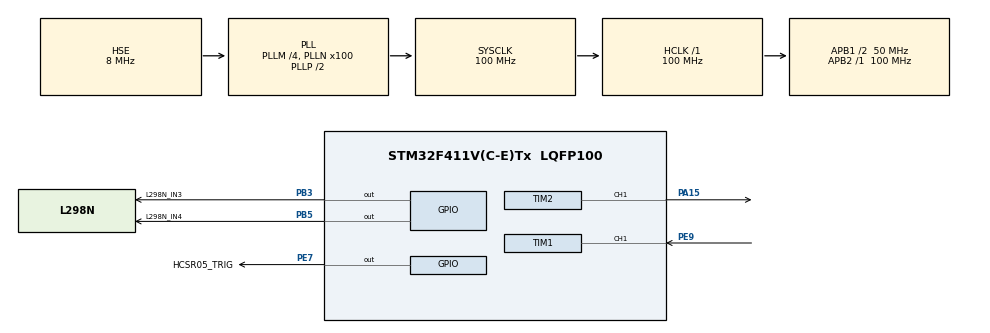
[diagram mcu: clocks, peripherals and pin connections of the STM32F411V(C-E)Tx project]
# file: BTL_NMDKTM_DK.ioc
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Mcu.Family=STM32F4
Mcu.Name=STM32F411V(C-E)Tx
Mcu.Package=LQFP100
NVIC.PriorityGroup=NVIC_PRIORITYGROUP_4
NVIC.TIM1_CC_IRQn=true\:0\:0\:false\:false\:true\:true\:true\:true
NVIC.TIM3_IRQn=true\:0\:0\:false\:false\:true\:true\:true\:true
PA13.Mode=Serial_Wire
PA13.Signal=SYS_JTMS-SWDIO
PA14.Mode=Serial_Wire
PA14.Signal=SYS_JTCK-SWCLK
PA15.Signal=S_TIM2_CH1_ETR
PB3.GPIO_Label=L298N_IN3
PB3.Signal=GPIO_Output
PB5.GPIO_Label=L298N_IN4
PB5.Signal=GPIO_Output
PE7.GPIO_Label=HCSR05_TRIG
PE7.GPIO_PuPd=GPIO_PULLDOWN
PE7.Signal=GPIO_Output
PE9.Signal=S_TIM1_CH1
PH0\ -\ OSC_IN.Mode=HSE-External-Oscillator
PH0\ -\ OSC_IN.Signal=RCC_OSC_IN
PH1\ -\ OSC_OUT.Mode=HSE-External-Oscillator
PH1\ -\ OSC_OUT.Signal=RCC_OSC_OUT
ProjectManager.HeapSize=0x200
ProjectManager.StackSize=0x400
ProjectManager.TargetToolchain=STM32CubeIDE
RCC.48MHZClocksFreq_Value=50000000
RCC.AHBFreq_Value=100000000
RCC.APB1CLKDivider=RCC_HCLK_DIV2
RCC.APB1Freq_Value=50000000
RCC.APB1TimFreq_Value=100000000
RCC.APB2Freq_Value=100000000
RCC.APB2TimFreq_Value=100000000
RCC.CortexFreq_Value=100000000
RCC.HCLKFreq_Value=100000000
RCC.HSE_VALUE=8000000
RCC.HSI_VALUE=16000000
RCC.LSE_VALUE=32768
RCC.PLLM=4
RCC.PLLN=100
RCC.PLLSourceVirtual=RCC_PLLSOURCE_HSE
RCC.SYSCLKFreq_VALUE=100000000
RCC.SYSCLKSource=RCC_SYSCLKSOURCE_PLLCLK
RCC.VCOOutputFreq_Value=200000000
SH.S_TIM1_CH1.0=TIM1_CH1,Input_Capture1_from_TI1
SH.S_TIM2_CH1_ETR.0=TIM2_CH1,PWM Generation1 CH1
TIM1.Channel-Input_Capture1_from_TI1=TIM_CHANNEL_1
TIM1.Period=0xffff-1
TIM1.Prescaler=100-1
TIM2.Channel-PWM\ Generation1\ CH1=TIM_CHANNEL_1
TIM2.Period=1000-1
TIM2.Prescaler=100-1
TIM3.Period=5000
TIM3.Prescaler=100-1
VP_TIM1_VS_ClockSourceINT.Mode=Internal
VP_TIM2_VS_ClockSourceINT.Mode=Internal
VP_TIM3_VS_ClockSourceINT.Mode=Internal
board=custom

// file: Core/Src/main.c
/* USER CODE BEGIN Header */
/**
  ******************************************************************************
  * @file           : main.c
  * @brief          : Main program body
  ******************************************************************************
  * @attention
  *
  * Copyright (c) 2024 STMicroelectronics.
  * All rights reserved.
  *
  * This software is licensed under terms that can be found in the LICENSE file
  * in the root directory of this software component.
  * If no LICENSE file comes with this software, it is provided AS-IS.
  *
  ******************************************************************************
  */
/* USER CODE END Header */
#include "main.h"
#include "HC_SR05.h"

/* USER CODE BEGIN PTD */
float e_k;
float e_dot;

float e_k1;

float e_k_input;
float e_k_dot_input;
uint8_t flag = 0;

double pwmValue;
volatile float point = 10.0f;
volatile float K2 = 2;
/* USER CODE END PTD */

TIM_HandleTypeDef htim1;
TIM_HandleTypeDef htim2;
TIM_HandleTypeDef htim3;

void SystemClock_Config(void);
static void MX_GPIO_Init(void);
static void MX_TIM1_Init(void);
static void MX_TIM2_Init(void);
static void MX_TIM3_Init(void);

/* USER CODE BEGIN 0 */
float Dis = 0;
float docao;
/* USER CODE END 0 */

int main(void)
{

  /* MCU Configuration--------------------------------------------------------*/

  /* Reset of all peripherals, Initializes the Flash interface and the Systick. */

	HAL_Init();

  /* Configure the system clock */
  SystemClock_Config();

  /* Initialize all configured peripherals */
  MX_GPIO_Init();
  MX_TIM1_Init();
  MX_TIM2_Init();
  MX_TIM3_Init();
  /* USER CODE BEGIN 2 */

  HAL_TIM_IC_Start_IT(&htim1, TIM_CHANNEL_1); // HCSR05 ECHO
  HAL_TIM_PWM_Start(&htim2, TIM_CHANNEL_1);   // L298N ENA (PA15)
//  HAL_GPIO_WritePin(GPIOB, GPIO_PIN_3, GPIO_PIN_SET);   // L298N IN3
//  HAL_GPIO_WritePin(GPIOB, GPIO_PIN_5, GPIO_PIN_RESET); // L298N IN4
  HAL_TIM_Base_Start_IT(&htim3); // Thoi gian dieu khien he thong

  /* USER CODE END 2 */

  /* Infinite loop */
  /* USER CODE BEGIN WHILE */
  while (1)
  {
	  Dis = HCSR05_GetDis();
	  HAL_Delay(200);
	  flag = 1;
	  docao = 14.8 - Dis;

    /* USER CODE END WHILE */

  }
}

void SystemClock_Config(void)
{
  RCC_OscInitTypeDef RCC_OscInitStruct = {0};
  RCC_ClkInitTypeDef RCC_ClkInitStruct = {0};

  /** Configure the main internal regulator output voltage
  */
  __HAL_RCC_PWR_CLK_ENABLE();
  __HAL_PWR_VOLTAGESCALING_CONFIG(PWR_REGULATOR_VOLTAGE_SCALE1);

  /** Initializes the RCC Oscillators according to the specified parameters
  * in the RCC_OscInitTypeDef structure.
  */
  RCC_OscInitStruct.OscillatorType = RCC_OSCILLATORTYPE_HSE;
  RCC_OscInitStruct.HSEState = RCC_HSE_ON;
  RCC_OscInitStruct.PLL.PLLState = RCC_PLL_ON;
  RCC_OscInitStruct.PLL.PLLSource = RCC_PLLSOURCE_HSE;
  RCC_OscInitStruct.PLL.PLLM = 4;
  RCC_OscInitStruct.PLL.PLLN = 100;
  RCC_OscInitStruct.PLL.PLLP = RCC_PLLP_DIV2;
  RCC_OscInitStruct.PLL.PLLQ = 4;
  if (HAL_RCC_OscConfig(&RCC_OscInitStruct) != HAL_OK)
  {
    Error_Handler();
  }

  /** Initializes the CPU, AHB and APB buses clocks
  */
  RCC_ClkInitStruct.ClockType = RCC_CLOCKTYPE_HCLK|RCC_CLOCKTYPE_SYSCLK
                              |RCC_CLOCKTYPE_PCLK1|RCC_CLOCKTYPE_PCLK2;
  RCC_ClkInitStruct.SYSCLKSource = RCC_SYSCLKSOURCE_PLLCLK;
  RCC_ClkInitStruct.AHBCLKDivider = RCC_SYSCLK_DIV1;
  RCC_ClkInitStruct.APB1CLKDivider = RCC_HCLK_DIV2;
  RCC_ClkInitStruct.APB2CLKDivider = RCC_HCLK_DIV1;

  if (HAL_RCC_ClockConfig(&RCC_ClkInitStruct, FLASH_LATENCY_3) != HAL_OK)
  {
    Error_Handler();
  }
}

static void MX_TIM1_Init(void)
{

  TIM_ClockConfigTypeDef sClockSourceConfig = {0};
  TIM_MasterConfigTypeDef sMasterConfig = {0};
  TIM_IC_InitTypeDef sConfigIC = {0};

  htim1.Instance = TIM1;
  htim1.Init.Prescaler = 100-1;
  htim1.Init.CounterMode = TIM_COUNTERMODE_UP;
  htim1.Init.Period = 0xffff-1;
  htim1.Init.ClockDivision = TIM_CLOCKDIVISION_DIV1;
  htim1.Init.RepetitionCounter = 0;
  htim1.Init.AutoReloadPreload = TIM_AUTORELOAD_PRELOAD_DISABLE;
  if (HAL_TIM_Base_Init(&htim1) != HAL_OK)
  {
    Error_Handler();
  }
  sClockSourceConfig.ClockSource = TIM_CLOCKSOURCE_INTERNAL;
  if (HAL_TIM_ConfigClockSource(&htim1, &sClockSourceConfig) != HAL_OK)
  {
    Error_Handler();
  }
  if (HAL_TIM_IC_Init(&htim1) != HAL_OK)
  {
    Error_Handler();
  }
  sMasterConfig.MasterOutputTrigger = TIM_TRGO_RESET;
  sMasterConfig.MasterSlaveMode = TIM_MASTERSLAVEMODE_DISABLE;
  if (HAL_TIMEx_MasterConfigSynchronization(&htim1, &sMasterConfig) != HAL_OK)
  {
    Error_Handler();
  }
  sConfigIC.ICPolarity = TIM_INPUTCHANNELPOLARITY_RISING;
  sConfigIC.ICSelection = TIM_ICSELECTION_DIRECTTI;
  sConfigIC.ICPrescaler = TIM_ICPSC_DIV1;
  sConfigIC.ICFilter = 0;
  if (HAL_TIM_IC_ConfigChannel(&htim1, &sConfigIC, TIM_CHANNEL_1) != HAL_OK)
  {
    Error_Handler();
  }

}

static void MX_TIM2_Init(void)
{

  TIM_ClockConfigTypeDef sClockSourceConfig = {0};
  TIM_MasterConfigTypeDef sMasterConfig = {0};
  TIM_OC_InitTypeDef sConfigOC = {0};

  htim2.Instance = TIM2;
  htim2.Init.Prescaler = 100-1;
  htim2.Init.CounterMode = TIM_COUNTERMODE_UP;
  htim2.Init.Period = 1000-1;
  htim2.Init.ClockDivision = TIM_CLOCKDIVISION_DIV1;
  htim2.Init.AutoReloadPreload = TIM_AUTORELOAD_PRELOAD_DISABLE;
  if (HAL_TIM_Base_Init(&htim2) != HAL_OK)
  {
    Error_Handler();
  }
  sClockSourceConfig.ClockSource = TIM_CLOCKSOURCE_INTERNAL;
  if (HAL_TIM_ConfigClockSource(&htim2, &sClockSourceConfig) != HAL_OK)
  {
    Error_Handler();
  }
  if (HAL_TIM_PWM_Init(&htim2) != HAL_OK)
  {
    Error_Handler();
  }
  sMasterConfig.MasterOutputTrigger = TIM_TRGO_RESET;
  sMasterConfig.MasterSlaveMode = TIM_MASTERSLAVEMODE_DISABLE;
  if (HAL_TIMEx_MasterConfigSynchronization(&htim2, &sMasterConfig) != HAL_OK)
  {
    Error_Handler();
  }
  sConfigOC.OCMode = TIM_OCMODE_PWM1;
  sConfigOC.Pulse = 0;
  sConfigOC.OCPolarity = TIM_OCPOLARITY_HIGH;
  sConfigOC.OCFastMode = TIM_OCFAST_DISABLE;
  if (HAL_TIM_PWM_ConfigChannel(&htim2, &sConfigOC, TIM_CHANNEL_1) != HAL_OK)
  {
    Error_Handler();
  }
  HAL_TIM_MspPostInit(&htim2);

}

static void MX_TIM3_Init(void)
{

  TIM_ClockConfigTypeDef sClockSourceConfig = {0};
  TIM_MasterConfigTypeDef sMasterConfig = {0};

  htim3.Instance = TIM3;
  htim3.Init.Prescaler = 100-1;
  htim3.Init.CounterMode = TIM_COUNTERMODE_UP;
  htim3.Init.Period = 5000;
  htim3.Init.ClockDivision = TIM_CLOCKDIVISION_DIV1;
  htim3.Init.AutoReloadPreload = TIM_AUTORELOAD_PRELOAD_DISABLE;
  if (HAL_TIM_Base_Init(&htim3) != HAL_OK)
  {
    Error_Handler();
  }
  sClockSourceConfig.ClockSource = TIM_CLOCKSOURCE_INTERNAL;
  if (HAL_TIM_ConfigClockSource(&htim3, &sClockSourceConfig) != HAL_OK)
  {
    Error_Handler();
  }
  sMasterConfig.MasterOutputTrigger = TIM_TRGO_RESET;
  sMasterConfig.MasterSlaveMode = TIM_MASTERSLAVEMODE_DISABLE;
  if (HAL_TIMEx_MasterConfigSynchronization(&htim3, &sMasterConfig) != HAL_OK)
  {
    Error_Handler();
  }

}

static void MX_GPIO_Init(void)
{
  GPIO_InitTypeDef GPIO_InitStruct = {0};

  /* GPIO Ports Clock Enable */
  __HAL_RCC_GPIOH_CLK_ENABLE();
  __HAL_RCC_GPIOE_CLK_ENABLE();
  __HAL_RCC_GPIOA_CLK_ENABLE();
  __HAL_RCC_GPIOB_CLK_ENABLE();

  /*Configure GPIO pin Output Level */
  HAL_GPIO_WritePin(HCSR05_TRIG_GPIO_Port, HCSR05_TRIG_Pin, GPIO_PIN_RESET);

  /*Configure GPIO pin Output Level */
  HAL_GPIO_WritePin(GPIOB, L298N_IN3_Pin|L298N_IN4_Pin, GPIO_PIN_RESET);

  /*Configure GPIO pin : HCSR05_TRIG_Pin */
  GPIO_InitStruct.Pin = HCSR05_TRIG_Pin;
  GPIO_InitStruct.Mode = GPIO_MODE_OUTPUT_PP;
  GPIO_InitStruct.Pull = GPIO_PULLDOWN;
  GPIO_InitStruct.Speed = GPIO_SPEED_FREQ_LOW;
  HAL_GPIO_Init(HCSR05_TRIG_GPIO_Port, &GPIO_InitStruct);

  /*Configure GPIO pins : L298N_IN3_Pin L298N_IN4_Pin */
  GPIO_InitStruct.Pin = L298N_IN3_Pin|L298N_IN4_Pin;
  GPIO_InitStruct.Mode = GPIO_MODE_OUTPUT_PP;
  GPIO_InitStruct.Pull = GPIO_NOPULL;
  GPIO_InitStruct.Speed = GPIO_SPEED_FREQ_LOW;
  HAL_GPIO_Init(GPIOB, &GPIO_InitStruct);

}

/* USER CODE BEGIN 4 */
/*
 **** Chuong trinh giai mo bang pp trung binh co trong so cua thay ****
 % My_SugenoFIS : Sugeno Fuzzy Inference System
clear all

% Gia tri ro cua bien vao
x1=-5;
x2=9;

% Khai bao cac gia tri ngon ngu
x1_NE=hlt_hinhthang(x1,-13,-12,-12,0);
x1_ZE=hlt_hinhthang(x1,-12,0,0,12);
x1_PO=hlt_hinhthang(x1,0,12,12,13);

x2_LO=hlt_hinhthang(x2,-1,0,1,6);
x2_ME=hlt_hinhthang(x2,1,6,6,11);
x2_HI=hlt_hinhthang(x2,6,11,12,13);

y_NB=-2;
y_NS=-1;
y_ZE=0;
y_PS=1;
y_PB=2;

% Cac luat va suy luan mo
beta1 = min(x1_NE,x2_LO);
y1 = y_NB;

beta2 = min(x1_NE,x2_ME);
y2 = y_NS;

beta3 = min(x1_NE,x2_HI);
y3 = y_ZE;

beta4 = min(x1_ZE,x2_LO);
y4 = y_NB;

beta5 = min(x1_ZE,x2_ME);
y5 = y_ZE;

beta6 = min(x1_ZE,x2_HI);
y6 = y_PB;

beta7 = min(x1_PO,x2_LO);
y7 = y_ZE;

beta8 = min(x1_PO,x2_ME);
y8 = y_PS;

beta9 = min(x1_PO,x2_HI);
y9 = y_PB;

% Giai mo trung binh co trong so

TS = beta1*y1+beta2*y2+beta3*y3+...
     beta4*y4+beta5*y5+beta6*y6+...
     beta7*y7+beta8*y8+beta9*y9;
MS = beta1+beta2+beta3+...
     beta4+beta5+beta6+...
     beta7+beta8+beta9;

y=TS/MS
 */

float fuzzyController(float a, float b)
{
    float e[]={hlt_hinhthang(a,-2,-1,-0.25,-0.1),hlt_tamgiac(a,-0.25,-0.1,0),hlt_tamgiac(a,-0.1,0,0.1),
    		hlt_tamgiac(a,0,0.1,0.25),hlt_hinhthang(a,0.1,0.25,1,2)};

    float edot[]={hlt_hinhthang(b,-1.5,-1,-0.3,-0.2),hlt_tamgiac(b,-0.3,-0.2,0),hlt_tamgiac(b,-0.2,0,0.2),
    		hlt_tamgiac(b,0,0.2,0.3),hlt_hinhthang(b,0.2,0.3,1,2)};

    float y[]={-100,-40,-20,0,30,70,100};
    float beta[5][5];
    for (int i = 0; i < 5; i++)
    {
     for (int j = 0; j < 5 ;j++)
     {
       beta[i][j]= MIN(e[i],edot[j]);
     }
    }

    float NB[] = {beta[e_NB][edot_NB],beta[e_NB][edot_NS],beta[e_NS][edot_NB]};
    float NM[] = {beta[e_NB][edot_ZE],beta[e_NS][edot_NS],beta[e_ZE][edot_NB]};
    float NS[] = {beta[e_NB][edot_PS],beta[e_NS][edot_ZE],beta[e_ZE][edot_NS],beta[e_PS][edot_NB]};
    float ZE[] = {beta[e_NB][edot_PB],beta[e_NS][edot_PS],beta[e_ZE][edot_ZE],beta[e_PS][edot_NS],beta[e_PB][edot_NB]};
    float PS[] = {beta[e_NS][edot_PB],beta[e_ZE][edot_PS],beta[e_PS][edot_ZE],beta[e_PB][edot_NS]};
    float PM[] = {beta[e_ZE][edot_PB],beta[e_PS][edot_PS],beta[e_PB][edot_ZE]};
    float PB[] = {beta[e_PB][edot_PB],beta[e_PB][edot_PS],beta[e_PS][edot_PB]};

    float ans = (rule(NB,y[y_NB],3)+rule(NM,y[y_NM],3)+rule(NS,y[y_NS],4)+rule(ZE,y[y_ZE],5)+
    		rule(PS,y[y_PS],4)+rule(PM,y[y_PM],3)+rule(PB,y[y_PB],3))/sum_array(beta,5,5); //
    return ans;
}

float hlt_hinhthang(float data, float l, float cl, float cr, float r)
{
    if ((data < l)   && (data >= r)) return 0;
    if ((data >= l)  && (data < cl)) return (data - l)/(cl - l);
    if ((data >= cl) && (data < cr)) return 1;
    if ((data >= cr) && (data < r))  return (r - data)/(r - cr);
    return 0;
}

float hlt_tamgiac(float data,float l,float m, float r)
{
    if ((data < l)  || (data >= r)) return 0;
    if ((data >= l) && (data < m))  return (data - l)/(m - l);
    if ((data >= m) && (data < r))  return (r - data)/(r - m);
    return 0;
}

// Tinh tong theo cong thuc trung binh co trong so
float sum_array (float data[][5],char n, char m)
{
    float s=0;
    for (int i =0; i < n; i++)
    {
     for (int j=0; j<m; j++)
     {
       s += data[i][j];
     }
    }
    return s;
}

float MIN(float a,float b)
{
    if (a < b) return a;
    else return b;
}

float rule(float data[],float val,char n)
{
    float s = 0;
    for (int i = 0; i < n; i++)
    {
     s += data[i]*val;
    }
    return s;
}

//Ham chuan hoa cac gia tri -1<x<1
float Saturation(float x)
{
	if(x >= 1)
		x = 1;
	else if(x <= -1)
		x = -1;
	return x;
}

void Motor_Control(int32_t pwmValue) {
    if (pwmValue > 0) {
        // Bom
        HAL_GPIO_WritePin(GPIOB, GPIO_PIN_3, GPIO_PIN_SET);   // L298N IN3
        HAL_GPIO_WritePin(GPIOB, GPIO_PIN_5, GPIO_PIN_RESET); // L298N IN4
    } else {
        // Dung Bom
        HAL_GPIO_WritePin(GPIOB, GPIO_PIN_3, GPIO_PIN_RESET); // L298N IN3
        HAL_GPIO_WritePin(GPIOB, GPIO_PIN_5, GPIO_PIN_RESET); // L298N IN4
    }
    __HAL_TIM_SET_COMPARE(&htim2, TIM_CHANNEL_1, pwmValue);
}

/*
 Thoi gian dieu khien cua chuong trinh la 200ms
 */
void HAL_TIM_PeriodElapsedCallback(TIM_HandleTypeDef *htim)
{
    if (htim->Instance == TIM3) // Kiểm tra nếu là timer 3
    {
//    	Dis = HCSR05_GetDis();
//      Delay(200000); // 200ms
    	//HAL_Delay(200);
    	if (flag){

    	e_k1 = e_k;
    	e_k = point - (TANK_HEIGHT - Dis);
    	e_dot = (e_k - e_k1)/0.2;

    	e_k_input = e_k*K1;
    	e_k_dot_input = e_dot*K2;

    	pwmValue += (0.2*fuzzyController(Saturation(e_k_input), Saturation(e_k_dot_input)));  //xuat thang ra gia tri cua pwm

    	if (pwmValue >= 900)
    		pwmValue = 900;
    	if (pwmValue < 0)
    		pwmValue = 0;

    	Motor_Control((int32_t)pwmValue);
    	}
    	flag = 0;
    }
}
/* USER CODE END 4 */

void Error_Handler(void)
{
  __disable_irq();
  while (1)
  {
  }
}
